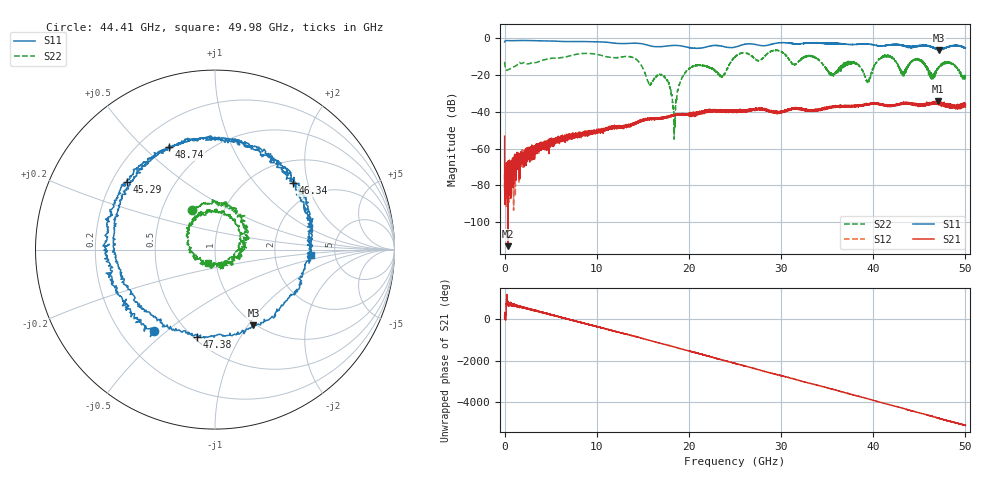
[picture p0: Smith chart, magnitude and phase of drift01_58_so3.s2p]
!Created with skrf (http://scikit-rf.org).
# Hz S RI R 50.0
!freq ReS11 ImS11 ReS21 ImS21 ReS12 ImS12 ReS22 ImS22
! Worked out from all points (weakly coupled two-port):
!   10001 points, 300 kHz to 50 GHz, reference 50 ohm
!   highest |S21| = -34.36 dB at 47 GHz (marker M1); lowest = -113.0 dB at 340.3 MHz (marker M2)
!   lowest |S11| = -6.5 dB at 47.12 GHz (marker M3), VSWR 2.79, Z = 48.8 - j53 ohm
!   |S11| at or under -10 dB: nowhere
!   |S22| runs from -54.9 to -6.6 dB; largest |S21 - S12| = 0.0042
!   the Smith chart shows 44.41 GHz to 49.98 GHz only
!   S11 on the Smith chart (normalised r, x): 44.41 GHz: 0.34, -0.45; 45.29 GHz: 0.26, +0.32; 46.34 GHz: 1.47, +1.61; 47.38 GHz: 0.52, -0.67; 48.74 GHz: 0.32, +0.60; 49.98 GHz: 3.27, -0.27
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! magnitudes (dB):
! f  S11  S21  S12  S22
! 300 kHz  -2.2  -53.3  -74.1  -12.9
! 340.3 MHz  -1.4  -113.0  -77.4  -17.4
! 8.335 GHz  -1.9  -52.1  -51.1  -8.5
! 16.67 GHz  -4.8  -44.1  -43.7  -20.0
! 17.74 GHz  -4.3  -43.0  -42.8  -24.4
! 18.45 GHz  -4.0  -42.0  -41.8  -44.1
! 19.95 GHz  -5.1  -41.8  -41.4  -17.0
! 23.62 GHz  -4.5  -39.7  -39.7  -21.1
! 25 GHz  -5.0  -40.1  -39.5  -10.2
! 33.34 GHz  -2.6  -39.2  -39.4  -10.1
! 39.43 GHz  -3.3  -35.9  -36.1  -23.9
! 41.67 GHz  -3.8  -36.9  -36.7  -9.8
! 43.23 GHz  -3.9  -35.8  -35.4  -19.7
! 44.41 GHz  -5.0  -36.0  -35.7  -11.9
! 45.29 GHz  -4.2  -36.0  -36.6  -12.5
! 46.34 GHz  -4.9  -35.6  -35.4  -22.0
! 47 GHz  -6.2  -34.4  -34.9  -17.0
! 47.12 GHz  -6.5  -35.6  -35.1  -15.9
! 47.38 GHz  -6.1  -35.4  -35.4  -14.3
! 48.74 GHz  -4.1  -36.6  -37.2  -14.8
! 49.98 GHz  -5.5  -36.4  -36.6  -21.3
! 50 GHz  -5.5  -36.5  -35.5  -22.0
